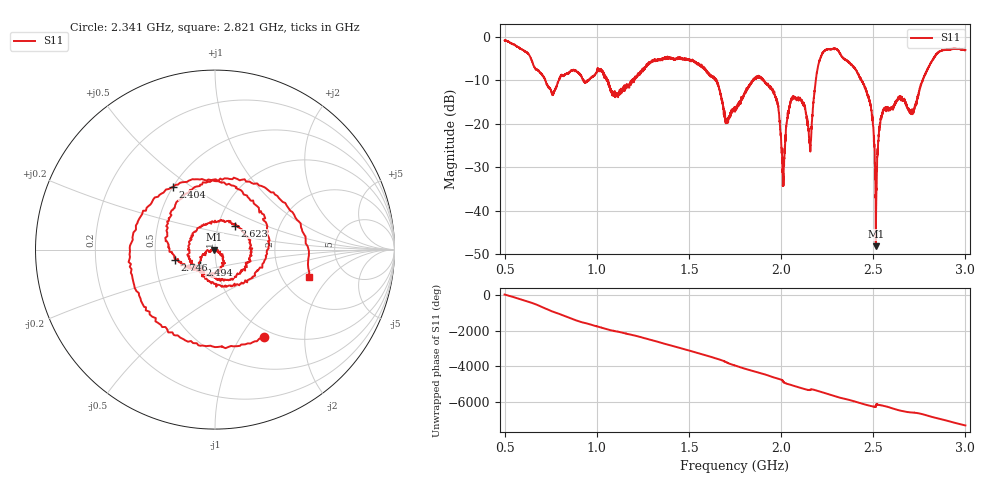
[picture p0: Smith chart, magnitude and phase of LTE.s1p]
#  HZ  S  DB  R  50.0
! Rohde & Schwarz ZVL
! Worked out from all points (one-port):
!   4001 points, 500 MHz to 3 GHz, reference 50 ohm
!   lowest |S11| = -48.2 dB at 2.514 GHz (marker M1), VSWR 1.01, Z = 49.6 - j0.0416 ohm
!   |S11| at or under -10 dB: 1.651 GHz to 1.845 GHz (193.6 MHz wide, 11.1 % of centre); 1.906 GHz to 2.189 GHz (282.9 MHz wide, 13.8 % of centre); 2.437 GHz to 2.768 GHz (330.6 MHz wide, 12.7 % of centre)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
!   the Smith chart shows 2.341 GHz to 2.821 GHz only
!   S11 on the Smith chart (normalised r, x): 2.341 GHz: 0.91, -1.27; 2.404 GHz: 0.50, +0.42; 2.494 GHz: 0.83, -0.14; 2.623 GHz: 1.19, +0.33; 2.746 GHz: 0.63, -0.08; 2.821 GHz: 2.80, -1.24
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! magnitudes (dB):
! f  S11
! 500 MHz  -0.8
! 756.9 MHz  -12.9
! 812.5 MHz  -8.8
! 1.017 GHz  -7.6
! 1.125 GHz  -13.0
! 1.438 GHz  -5.1
! 1.642 GHz  -9.5
! 1.706 GHz  -19.6
! 1.75 GHz  -16.2
! 1.901 GHz  -9.8
! 1.973 GHz  -14.3
! 2.012 GHz  -32.8
! 2.062 GHz  -13.9
! 2.119 GHz  -15.3
! 2.156 GHz  -24.0
! 2.192 GHz  -8.7
! 2.219 GHz  -4.4
! 2.341 GHz  -5.1
! 2.375 GHz  -6.2
! 2.404 GHz  -7.5
! 2.494 GHz  -18.4
! 2.514 GHz  -48.2
! 2.549 GHz  -17.6
! 2.623 GHz  -15.3
! 2.688 GHz  -16.3
! 2.746 GHz  -12.8
! 2.821 GHz  -5.2
! 3 GHz  -3.0
